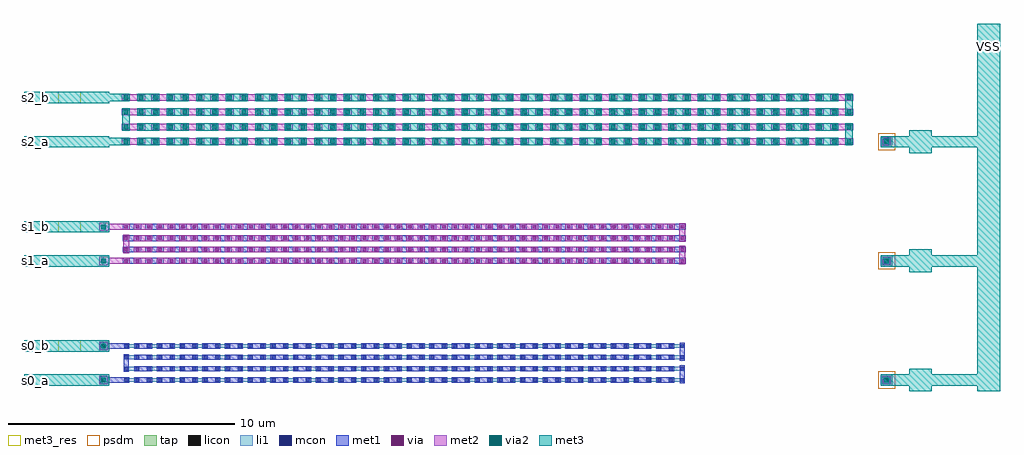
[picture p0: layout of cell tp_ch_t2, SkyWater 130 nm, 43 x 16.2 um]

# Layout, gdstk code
import gdstk
lib = gdstk.Library(unit=1e-6, precision=1e-09)
def R(c, l, rs):  # rectangles x0, y0, x1, y1
    for r in rs: c.add(gdstk.rectangle(r[:2], r[2:], *l))
def A(c, l, x, y, w, h, nx, ny, dx, dy):  # array of equal rectangles
    R(c, l, [(x+i*dx, y+j*dy, x+i*dx+w, y+j*dy+h) for i in range(nx) for j in range(ny)])
tap = (65, 44)
licon = (66, 44)
li1 = (67, 20)
mcon = (67, 44)
met1 = (68, 20)
via = (68, 44)
met2 = (69, 20)
via2 = (69, 44)
met3_res = (70, 13)
met3 = (70, 20)
psdm = (94, 20)

tp_ch_mcon = lib.new_cell('tp_ch_mcon')
R(tp_ch_mcon, tap, [(37.75,0.25,38.25,0.75)])
R(tp_ch_mcon, licon, [(37.915,0.415,38.085,0.585)])
A(tp_ch_mcon, li1, 4.415, 0.415, 0.67, 0.17, 25, 4, 1, 0.5)
R(tp_ch_mcon, li1, [(37.825,0.325,38.175,0.675), (37.875,0.375,38.125,0.625)])
A(tp_ch_mcon, mcon, 4.415, 0.415, 0.17, 0.17, 50, 4, 0.5, 0.5)
R(tp_ch_mcon, mcon, [(37.915,0.415,38.085,0.585)])
A(tp_ch_mcon, met1, 4.855, 0.385, 0.79, 0.23, 24, 4, 1, 0.5)
R(tp_ch_mcon, met1, [(3.34,0.34,3.66,0.66), (37.84,0.34,38.16,0.66), (37.85,0.35,38.15,0.65), (28.885,0.355,29.115,1.145), (3.5,0.385,4.645,0.615), (4.385,0.855,4.615,1.645), (28.885,1.355,29.115,2.145), (3.34,1.84,3.66,2.16), (3.5,1.885,4.645,2.115)])
R(tp_ch_mcon, via, [(3.425,0.425,3.575,0.575), (37.925,0.425,38.075,0.575), (3.425,1.925,3.575,2.075)])
R(tp_ch_mcon, met2, [(3.315,0.315,3.685,0.685), (37.815,0.315,38.185,0.685), (3.34,0.34,3.66,0.66), (37.84,0.34,38.16,0.66), (3.315,1.815,3.685,2.185), (3.34,1.84,3.66,2.16)])
R(tp_ch_mcon, via2, [(3.4,0.4,3.6,0.6), (37.9,0.4,38.1,0.6), (3.4,1.9,3.6,2.1)])
R(tp_ch_mcon, met3_res, [(1.5,1.75,2.5,2.25)])
R(tp_ch_mcon, met3, [(39,0,40,1), (0,0.25,3.75,0.75), (0,0.25,1,0.75), (3.25,0.25,3.75,0.75), (37.75,0.25,38.25,0.75), (37.75,0.25,39,0.75), (0,1.75,3.75,2.25), (0,1.75,1,2.25), (3.25,1.75,3.75,2.25)])
R(tp_ch_mcon, psdm, [(37.625,0.125,38.375,0.875)])

tp_ch_via1 = lib.new_cell('tp_ch_via1')
R(tp_ch_via1, tap, [(37.75,0.25,38.25,0.75)])
R(tp_ch_via1, licon, [(37.915,0.415,38.085,0.585)])
R(tp_ch_via1, li1, [(37.825,0.325,38.175,0.675), (37.875,0.375,38.125,0.625)])
R(tp_ch_via1, mcon, [(37.915,0.415,38.085,0.585)])
A(tp_ch_via1, met1, 4.34, 0.37, 0.82, 0.26, 25, 4, 1, 0.5)
R(tp_ch_via1, met1, [(37.84,0.34,38.16,0.66), (37.85,0.35,38.15,0.65)])
A(tp_ch_via1, via, 4.425, 0.425, 0.15, 0.15, 50, 4, 0.5, 0.5)
R(tp_ch_via1, via, [(37.925,0.425,38.075,0.575)])
A(tp_ch_via1, met2, 4.84, 0.37, 0.82, 0.26, 24, 4, 1, 0.5)
R(tp_ch_via1, met2, [(3.315,0.315,3.685,0.685), (37.815,0.315,38.185,0.685), (28.87,0.34,29.13,1.16), (37.84,0.34,38.16,0.66), (3.5,0.37,4.66,0.63), (4.37,0.84,4.63,1.66), (28.87,1.34,29.13,2.16), (3.315,1.815,3.685,2.185), (3.5,1.87,4.66,2.13)])
R(tp_ch_via1, via2, [(3.4,0.4,3.6,0.6), (37.9,0.4,38.1,0.6), (3.4,1.9,3.6,2.1)])
R(tp_ch_via1, met3_res, [(1.5,1.75,2.5,2.25)])
R(tp_ch_via1, met3, [(39,0,40,1), (0,0.25,3.75,0.75), (0,0.25,1,0.75), (3.25,0.25,3.75,0.75), (37.75,0.25,38.25,0.75), (37.75,0.25,39,0.75), (0,1.75,3.75,2.25), (0,1.75,1,2.25), (3.25,1.75,3.75,2.25)])
R(tp_ch_via1, psdm, [(37.625,0.125,38.375,0.875)])

tp_ch_via2 = lib.new_cell('tp_ch_via2')
R(tp_ch_via2, tap, [(37.75,0.25,38.25,0.75)])
R(tp_ch_via2, licon, [(37.915,0.415,38.085,0.585)])
R(tp_ch_via2, li1, [(37.825,0.325,38.175,0.675), (37.875,0.375,38.125,0.625)])
R(tp_ch_via2, mcon, [(37.915,0.415,38.085,0.585)])
R(tp_ch_via2, met1, [(37.84,0.34,38.16,0.66), (37.85,0.35,38.15,0.65)])
R(tp_ch_via2, via, [(37.925,0.425,38.075,0.575)])
A(tp_ch_via2, met2, 4.315, 0.36, 1.02, 0.28, 25, 4, 1.3, 0.65)
R(tp_ch_via2, met2, [(37.815,0.315,38.185,0.685), (37.84,0.34,38.16,0.66)])
A(tp_ch_via2, via2, 4.4, 0.4, 0.2, 0.2, 50, 4, 0.65, 0.65)
R(tp_ch_via2, via2, [(37.9,0.4,38.1,0.6)])
R(tp_ch_via2, met3_res, [(1.5,2.2,2.5,2.7)])
A(tp_ch_via2, met3, 4.985, 0.335, 0.98, 0.33, 24, 4, 1.3, 0.65)
R(tp_ch_via2, met3, [(39,0,40,1), (0,0.25,3.75,0.75), (0,0.25,1,0.75), (37.75,0.25,38.25,0.75), (37.75,0.25,39,0.75), (3.5,0.335,4.665,0.665), (36.185,0.335,36.515,1.315), (4.335,0.985,4.665,1.965), (36.185,1.635,36.515,2.615), (0,2.2,3.75,2.7), (0,2.2,1,2.7), (3.5,2.285,4.665,2.615)])
R(tp_ch_via2, psdm, [(37.625,0.125,38.375,0.875)])

tp_ch_t2 = lib.new_cell('tp_ch_t2')
A(tp_ch_t2, met3, 40, 0.25, 3, 0.5, 1, 3, 0, 5.25)
R(tp_ch_t2, met3, [(42,0,43,16.2)])
tp_ch_t2.add(gdstk.Reference(tp_ch_mcon, (0,0)))
tp_ch_t2.add(gdstk.Reference(tp_ch_via1, (0,5.25)))
tp_ch_t2.add(gdstk.Reference(tp_ch_via2, (0,10.5)))
tp_ch_t2.add(gdstk.Label('s0_a', (0.5,0.5), layer=70, texttype=5))
tp_ch_t2.add(gdstk.Label('s0_b', (0.5,2), layer=70, texttype=5))
tp_ch_t2.add(gdstk.Label('s1_a', (0.5,5.75), layer=70, texttype=5))
tp_ch_t2.add(gdstk.Label('s1_b', (0.5,7.25), layer=70, texttype=5))
tp_ch_t2.add(gdstk.Label('s2_a', (0.5,11), layer=70, texttype=5))
tp_ch_t2.add(gdstk.Label('s2_b', (0.5,12.95), layer=70, texttype=5))
tp_ch_t2.add(gdstk.Label('VSS', (42.5,15.2), layer=70, texttype=5))

lib.write_gds('tp_ch_t2.gds')
